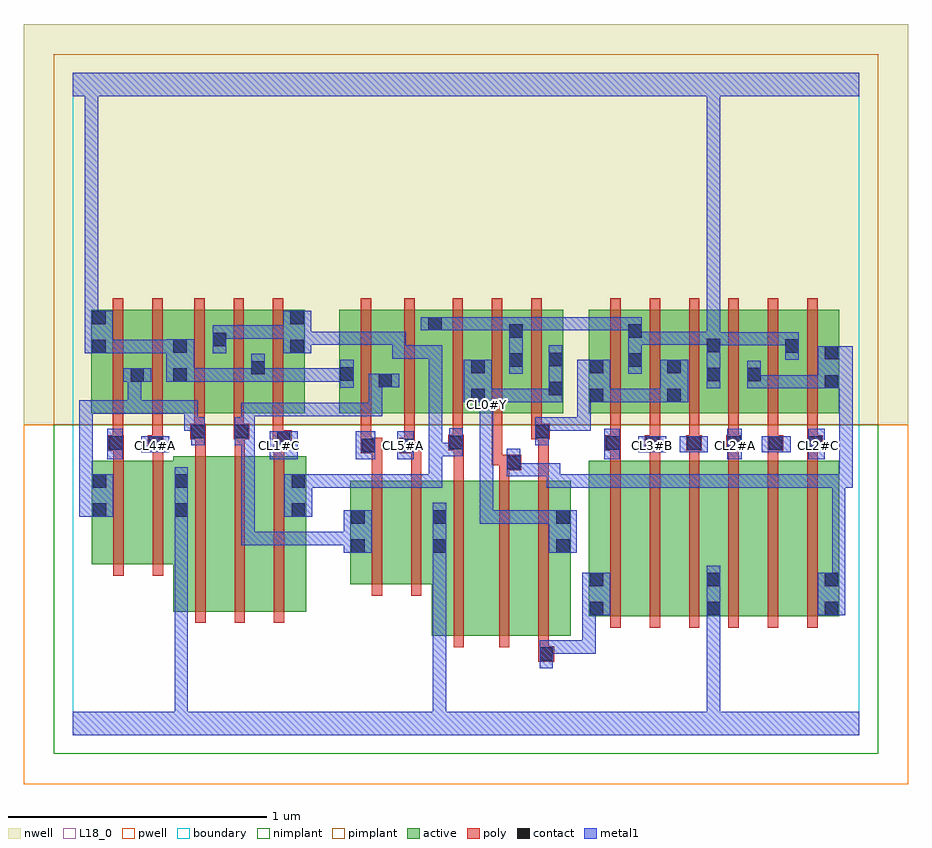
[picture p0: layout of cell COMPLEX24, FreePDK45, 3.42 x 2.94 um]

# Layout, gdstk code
import gdstk
lib = gdstk.Library(unit=1e-6, precision=1e-09)
def R(c, l, rs):  # rectangles x0, y0, x1, y1
    for r in rs: c.add(gdstk.rectangle(r[:2], r[2:], *l))
def A(c, l, x, y, w, h, nx, ny, dx, dy):  # array of equal rectangles
    R(c, l, [(x+i*dx, y+j*dy, x+i*dx+w, y+j*dy+h) for i in range(nx) for j in range(ny)])
active = (1, 0)
pwell = (2, 0)
nwell = (3, 0)
nimplant = (4, 0)
pimplant = (5, 0)
poly = (9, 0)
contact = (10, 0)
metal1 = (11, 0)
L18_0 = (18, 0)
boundary = (235, 0)

complex24 = lib.new_cell('COMPLEX24')
A(complex24, active, 2.142, 1.244, 0.06, 0.4, 3, 1, 0.304, 0)
R(complex24, active, [(1.388,0.384,1.592,0.984), (1.388,0.384,1.448,0.888), (1.592,0.384,1.744,0.984), (1.744,0.384,1.924,0.984), (1.994,0.46,2.054,1.06), (1.994,0.46,2.174,1.06), (2.174,0.46,2.326,1.06), (2.326,0.46,2.506,1.06), (2.446,0.46,2.63,1.06), (2.446,0.46,2.506,0.728), (2.63,0.46,2.782,1.06), (2.782,0.46,2.962,1.06), (2.902,0.46,2.962,1.06), (0.39,0.478,0.57,1.078), (0.57,0.478,0.722,1.078), (0.722,0.478,0.902,1.078), (0.842,0.556,0.902,1.078), (1.864,0.556,1.924,0.984), (1.072,0.584,1.252,0.984), (1.072,0.584,1.132,0.984), (1.252,0.584,1.448,0.984), (0.074,0.66,0.254,1.06), (0.254,0.66,0.45,1.06), (0.074,0.756,0.134,1.06), (0.39,0.756,0.45,1.012), (0.072,1.244,0.132,1.644), (0.072,1.244,0.28,1.644), (0.22,1.244,0.446,1.644), (0.386,1.244,0.598,1.644), (0.538,1.244,0.746,1.644), (0.686,1.244,0.898,1.644), (0.838,1.244,0.898,1.644), (1.03,1.244,1.09,1.644), (1.03,1.244,1.238,1.644), (1.178,1.244,1.43,1.644), (1.37,1.244,1.596,1.644), (1.536,1.244,1.744,1.644), (1.684,1.244,1.896,1.644), (1.836,1.244,1.896,1.644), (1.994,1.244,2.054,1.644), (1.994,1.244,2.202,1.644), (2.142,1.244,2.354,1.644), (2.294,1.244,2.506,1.644), (2.446,1.244,2.662,1.644), (2.602,1.244,2.81,1.644), (2.75,1.244,2.962,1.644), (2.902,1.244,2.962,1.644), (1.536,1.282,1.596,1.644), (2.294,1.282,2.354,1.644), (1.684,1.324,1.744,1.644), (1.178,1.34,1.238,1.644), (0.22,1.362,0.28,1.644), (0.386,1.362,0.446,1.644), (2.602,1.364,2.662,1.644), (0.686,1.39,0.746,1.644), (0.538,1.5,0.598,1.644), (1.37,1.56,1.43,1.644)])
R(complex24, pwell, [(-0.188,-0.188,3.228,1.2)])
R(complex24, nwell, [(-0.188,1.2,3.228,2.748)])
R(complex24, nimplant, [(-0.072,-0.072,3.112,1.2)])
R(complex24, pimplant, [(-0.072,1.2,3.112,2.632)])
A(complex24, poly, 2.078, 0.416, 0.04, 0.688, 6, 1, 0.152, 0)
A(complex24, poly, 0.474, 0.434, 0.04, 0.688, 3, 1, 0.152, 0)
A(complex24, poly, 2.078, 1.064, 0.04, 0.076, 6, 1, 0.152, 0)
A(complex24, poly, 2.078, 1.12, 0.04, 0.12, 6, 1, 0.152, 0)
A(complex24, poly, 0.47, 1.2, 0.04, 0.488, 3, 1, 0.152, 0)
A(complex24, poly, 1.468, 1.2, 0.04, 0.488, 3, 1, 0.152, 0)
A(complex24, poly, 2.078, 1.2, 0.04, 0.488, 6, 1, 0.152, 0)
R(complex24, poly, [(1.8,0.284,1.86,0.344), (1.8,0.304,1.84,0.38), (1.472,0.34,1.512,1.028), (1.648,0.34,1.688,1.028), (1.8,0.34,1.84,1.028), (1.156,0.54,1.196,1.028), (1.308,0.54,1.348,1.028), (0.158,0.616,0.198,1.104), (0.31,0.616,0.35,1.104), (1.156,0.988,1.196,1.13), (1.308,0.988,1.348,1.13), (1.472,0.988,1.512,1.142), (1.648,0.988,1.688,1.064), (1.8,0.988,1.84,1.184), (1.648,1.024,1.734,1.084), (1.62,1.044,1.66,1.24), (1.62,1.044,1.688,1.084), (1.648,1.044,1.688,1.084), (0.158,1.064,0.198,1.14), (0.31,1.064,0.35,1.14), (0.474,1.082,0.514,1.184), (0.626,1.082,0.666,1.184), (0.778,1.082,0.818,1.158), (1.114,1.09,1.196,1.15), (1.262,1.09,1.322,1.15), (1.282,1.09,1.322,1.13), (1.282,1.09,1.348,1.13), (0.138,1.1,0.198,1.16), (0.29,1.1,0.35,1.16), (2.058,1.1,2.118,1.16), (2.078,1.1,2.118,1.14), (2.078,1.1,2.118,1.14), (2.21,1.1,2.27,1.16), (2.23,1.1,2.27,1.14), (2.23,1.1,2.27,1.14), (2.37,1.1,2.43,1.16), (2.382,1.1,2.422,1.14), (2.382,1.1,2.422,1.14), (2.526,1.1,2.586,1.16), (2.534,1.1,2.574,1.14), (2.534,1.1,2.574,1.14), (2.686,1.1,2.726,1.14), (2.686,1.1,2.726,1.14), (2.686,1.1,2.746,1.16), (2.838,1.1,2.878,1.14), (2.838,1.1,2.878,1.14), (2.838,1.1,2.898,1.16), (1.452,1.102,1.512,1.162), (1.472,1.102,1.512,1.142), (1.472,1.102,1.512,1.142), (1.114,1.11,1.154,1.15), (1.114,1.11,1.154,1.15), (1.114,1.11,1.154,1.24), (1.282,1.11,1.322,1.24), (0.778,1.118,0.846,1.178), (0.156,1.12,0.196,1.24), (0.156,1.12,0.196,1.16), (0.156,1.12,0.196,1.16), (0.308,1.12,0.348,1.24), (0.308,1.12,0.348,1.16), (0.308,1.12,0.348,1.16), (1.468,1.122,1.508,1.24), (0.774,1.138,0.814,1.24), (0.774,1.138,0.818,1.178), (0.778,1.138,0.818,1.178), (0.454,1.144,0.514,1.204), (0.474,1.144,0.514,1.184), (0.474,1.144,0.514,1.184), (0.622,1.144,0.682,1.204), (0.626,1.144,0.666,1.184), (0.626,1.144,0.666,1.184), (1.772,1.144,1.844,1.204), (1.8,1.144,1.84,1.184), (1.8,1.144,1.84,1.184), (0.47,1.164,0.51,1.24), (0.622,1.164,0.662,1.24), (1.772,1.164,1.812,1.24), (0.156,1.2,0.196,1.688), (0.308,1.2,0.348,1.688), (1.114,1.2,1.154,1.688), (1.282,1.2,1.322,1.688)])
R(complex24, contact, [(1.804,0.288,1.856,0.34), (1.998,0.464,2.05,0.516), (2.45,0.464,2.502,0.516), (2.906,0.464,2.958,0.516), (1.998,0.576,2.05,0.628), (2.45,0.576,2.502,0.628), (2.906,0.576,2.958,0.628), (1.076,0.706,1.128,0.758), (1.392,0.706,1.444,0.758), (1.868,0.706,1.92,0.758), (1.076,0.818,1.128,0.87), (1.392,0.818,1.444,0.87), (1.868,0.818,1.92,0.87), (0.078,0.844,0.13,0.896), (0.394,0.844,0.446,0.896), (0.846,0.844,0.898,0.896), (0.078,0.956,0.13,1.008), (0.394,0.956,0.446,1.008), (0.846,0.956,0.898,1.008), (1.678,1.028,1.73,1.08), (1.118,1.094,1.17,1.146), (1.266,1.094,1.318,1.146), (0.142,1.104,0.194,1.156), (0.294,1.104,0.346,1.156), (2.062,1.104,2.114,1.156), (2.214,1.104,2.266,1.156), (2.374,1.104,2.426,1.156), (2.53,1.104,2.582,1.156), (2.69,1.104,2.742,1.156), (2.842,1.104,2.894,1.156), (1.456,1.106,1.508,1.158), (0.79,1.122,0.842,1.174), (0.458,1.148,0.51,1.2), (0.626,1.148,0.678,1.2), (1.788,1.148,1.84,1.2), (1.54,1.286,1.592,1.338), (1.998,1.286,2.05,1.338), (2.298,1.286,2.35,1.338), (1.84,1.314,1.892,1.366), (2.906,1.34,2.958,1.392), (1.182,1.344,1.234,1.396), (0.224,1.366,0.276,1.418), (0.39,1.366,0.442,1.418), (2.45,1.368,2.502,1.42), (2.606,1.368,2.658,1.42), (1.034,1.37,1.086,1.422), (0.69,1.394,0.742,1.446), (1.54,1.398,1.592,1.45), (1.998,1.398,2.05,1.45), (2.298,1.398,2.35,1.45), (1.688,1.424,1.74,1.476), (2.146,1.424,2.198,1.476), (1.84,1.426,1.892,1.478), (2.906,1.452,2.958,1.504), (0.076,1.476,0.128,1.528), (0.842,1.476,0.894,1.528), (0.39,1.478,0.442,1.53), (2.754,1.478,2.806,1.53), (2.45,1.48,2.502,1.532), (0.542,1.504,0.594,1.556), (1.688,1.536,1.74,1.588), (2.146,1.536,2.198,1.588), (1.374,1.564,1.426,1.616), (0.076,1.588,0.128,1.64), (0.842,1.588,0.894,1.64)])
R(complex24, metal1, [(0,0,3.04,0.092), (0.394,0.04,0.446,0.092), (0.394,0.04,0.446,0.092), (0.394,0.04,0.446,0.092), (0.394,0.04,0.446,0.092), (0.394,0.04,0.446,0.092), (0.394,0.04,0.446,0.092), (0.394,0.04,0.446,0.868), (1.392,0.04,1.444,0.73), (2.45,0.04,2.502,0.092), (2.45,0.04,2.502,0.092), (2.45,0.04,2.502,0.092), (2.45,0.04,2.502,0.092), (2.45,0.04,2.502,0.488), (1.804,0.26,1.856,0.368), (1.804,0.316,1.856,0.368), (1.804,0.316,1.856,0.368), (1.804,0.316,2.022,0.368), (1.97,0.316,2.022,0.368), (1.97,0.316,2.022,0.516), (2.45,0.436,2.502,0.488), (2.45,0.436,2.502,0.488), (2.45,0.436,2.502,0.488), (2.45,0.436,2.502,0.488), (2.45,0.436,2.502,0.656), (1.97,0.464,2.078,0.628), (2.878,0.464,2.986,0.628), (2.934,0.576,2.986,1.008), (1.392,0.678,1.444,0.73), (1.392,0.678,1.444,0.73), (1.392,0.678,1.444,0.73), (1.392,0.678,1.444,0.73), (1.392,0.678,1.444,0.73), (1.392,0.678,1.444,0.73), (1.392,0.678,1.444,0.73), (1.392,0.678,1.444,0.73), (1.392,0.678,1.444,0.898), (1.048,0.706,1.156,0.87), (1.84,0.706,1.948,0.87), (0.652,0.734,0.704,0.786), (0.652,0.734,0.704,0.786), (0.652,0.734,0.704,0.786), (0.652,0.734,0.704,0.786), (0.652,0.734,0.704,0.786), (0.652,0.734,0.852,0.786), (0.652,0.734,0.704,1.228), (0.8,0.734,0.852,0.786), (0.8,0.734,0.852,0.786), (0.8,0.734,0.852,0.786), (0.8,0.734,1.1,0.786), (0.394,0.816,0.446,0.868), (0.394,0.816,0.446,0.868), (0.394,0.816,0.446,1.036), (1.574,0.818,1.626,0.87), (1.574,0.818,1.626,0.87), (1.574,0.818,1.626,0.87), (1.574,0.818,1.736,0.87), (1.574,0.818,1.626,1.278), (1.684,0.818,1.736,0.87), (1.684,0.818,1.892,0.87), (1.84,0.818,1.892,0.87), (1.84,0.818,1.892,0.87), (0.026,0.844,0.158,1.008), (0.818,0.844,0.926,1.008), (0.026,0.956,0.078,1.294), (0.874,0.956,1,1.008), (0.948,0.956,1,1.008), (0.948,0.956,1.146,1.008), (1.094,0.956,1.146,1.008), (1.094,0.956,1.288,1.008), (1.236,0.956,1.288,1.008), (1.236,0.956,1.288,1.008), (1.236,0.956,1.288,1.008), (1.236,0.956,1.288,1.008), (1.236,0.956,1.288,1.008), (1.236,0.956,1.428,1.008), (1.376,0.956,1.428,1.008), (1.376,0.956,1.428,1.13), (1.832,0.956,2.078,1.008), (1.832,0.956,1.884,1.052), (2.026,0.956,2.078,1.008), (2.026,0.956,2.078,1.008), (2.026,0.956,2.078,1.008), (2.026,0.956,2.188,1.008), (2.136,0.956,2.188,1.008), (2.136,0.956,2.188,1.008), (2.136,0.956,2.188,1.008), (2.136,0.956,2.308,1.008), (2.256,0.956,2.308,1.008), (2.256,0.956,2.308,1.008), (2.256,0.956,2.308,1.008), (2.256,0.956,2.418,1.008), (2.366,0.956,2.418,1.008), (2.366,0.956,2.418,1.008), (2.366,0.956,2.418,1.008), (2.366,0.956,2.696,1.008), (2.644,0.956,2.696,1.008), (2.644,0.956,2.696,1.008), (2.644,0.956,2.696,1.008), (2.644,0.956,2.82,1.008), (2.768,0.956,2.82,1.008), (2.768,0.956,2.986,1.008), (2.934,0.956,2.986,1.008), (2.934,0.956,2.986,1.008), (2.934,0.956,3.014,1.008), (2.962,0.956,3.014,1.392), (1.678,1,1.73,1.108), (1.678,1,1.736,1.052), (1.684,1,1.736,1.052), (1.684,1,1.884,1.052), (1.832,1,1.884,1.052), (1.832,1,1.884,1.052), (0.134,1.066,0.194,1.184), (0.762,1.066,0.87,1.174), (1.094,1.066,1.17,1.174), (1.254,1.066,1.318,1.174), (2.054,1.066,2.114,1.184), (2.53,1.066,2.586,1.184), (2.842,1.066,2.906,1.184), (1.376,1.078,1.428,1.13), (1.376,1.078,1.428,1.13), (1.376,1.078,1.428,1.13), (1.376,1.078,1.508,1.13), (1.376,1.078,1.428,1.506), (1.456,1.078,1.508,1.186), (0.266,1.094,0.374,1.156), (2.186,1.094,2.294,1.156), (2.346,1.094,2.454,1.156), (2.662,1.094,2.774,1.156), (0.458,1.12,0.51,1.228), (0.626,1.12,0.678,1.228), (1.788,1.12,1.84,1.228), (0.432,1.176,0.51,1.228), (0.432,1.176,0.484,1.294), (0.626,1.176,0.704,1.228), (0.652,1.176,0.704,1.284), (1.788,1.176,1.892,1.228), (1.84,1.176,1.892,1.228), (1.84,1.176,2.002,1.228), (1.95,1.176,2.002,1.228), (1.95,1.176,2.002,1.338), (1.574,1.226,1.626,1.338), (0.652,1.232,0.89,1.284), (0.838,1.232,0.89,1.284), (0.838,1.232,1,1.284), (0.948,1.232,1,1.284), (0.948,1.232,1,1.284), (0.948,1.232,1,1.284), (0.948,1.232,1.178,1.284), (1.126,1.232,1.178,1.284), (1.126,1.232,1.196,1.284), (1.144,1.232,1.196,1.284), (1.144,1.232,1.196,1.396), (0.026,1.242,0.078,1.294), (0.026,1.242,0.078,1.294), (0.026,1.242,0.078,1.294), (0.026,1.242,0.078,1.294), (0.026,1.242,0.078,1.294), (0.026,1.242,0.266,1.294), (0.214,1.242,0.266,1.294), (0.214,1.242,0.274,1.294), (0.214,1.242,0.266,1.418), (0.222,1.242,0.274,1.294), (0.222,1.242,0.484,1.294), (1.512,1.286,1.62,1.45), (1.568,1.286,1.62,1.338), (1.568,1.286,1.62,1.338), (1.568,1.286,1.62,1.338), (1.568,1.286,1.736,1.338), (1.568,1.286,1.626,1.338), (1.574,1.286,1.626,1.338), (1.684,1.286,1.736,1.338), (1.684,1.286,1.892,1.338), (1.84,1.286,1.892,1.338), (1.84,1.286,1.892,1.338), (1.84,1.286,1.892,1.506), (1.95,1.286,2.078,1.45), (2.026,1.286,2.078,1.338), (2.026,1.286,2.078,1.338), (2.026,1.286,2.188,1.338), (2.136,1.286,2.188,1.338), (2.136,1.286,2.188,1.338), (2.136,1.286,2.188,1.338), (2.136,1.286,2.322,1.338), (2.27,1.286,2.378,1.45), (2.45,1.34,2.502,1.56), (2.606,1.34,2.658,1.392), (2.606,1.34,2.658,1.392), (2.606,1.34,2.658,1.448), (2.606,1.34,2.82,1.392), (2.768,1.34,2.82,1.392), (2.768,1.34,2.82,1.392), (2.768,1.34,2.82,1.392), (2.768,1.34,2.93,1.392), (2.878,1.34,3.014,1.504), (2.962,1.34,3.014,1.392), (2.962,1.34,3.014,1.392), (1.034,1.342,1.086,1.45), (1.144,1.344,1.262,1.396), (0.196,1.366,0.304,1.418), (0.362,1.366,0.47,1.53), (0.418,1.366,0.47,1.418), (0.418,1.366,0.47,1.418), (0.418,1.366,0.47,1.418), (0.418,1.366,0.47,1.418), (0.418,1.366,0.594,1.418), (0.542,1.366,0.594,1.418), (0.542,1.366,0.594,1.418), (0.542,1.366,0.594,1.418), (0.542,1.366,0.742,1.418), (0.69,1.366,0.742,1.474), (0.69,1.366,0.89,1.418), (0.838,1.366,0.89,1.418), (0.838,1.366,0.89,1.418), (0.838,1.366,0.89,1.418), (0.838,1.366,1.086,1.418), (1.688,1.396,1.74,1.616), (2.146,1.396,2.198,1.616), (2.754,1.45,2.806,1.558), (1.236,1.454,1.428,1.506), (1.236,1.454,1.288,1.56), (1.376,1.454,1.428,1.506), (0.048,1.476,0.156,1.64), (0.086,1.476,0.138,1.528), (0.086,1.476,0.138,1.528), (0.086,1.476,0.138,1.528), (0.086,1.476,0.138,1.528), (0.086,1.476,0.138,1.528), (0.086,1.476,0.138,1.528), (0.086,1.476,0.266,1.528), (0.214,1.476,0.266,1.528), (0.214,1.476,0.266,1.528), (0.214,1.476,0.266,1.528), (0.214,1.476,0.414,1.528), (0.542,1.476,0.594,1.584), (0.814,1.476,0.922,1.64), (2.45,1.506,2.502,1.558), (2.45,1.506,2.502,1.558), (2.45,1.506,2.696,1.558), (2.644,1.506,2.696,1.558), (2.644,1.506,2.696,1.558), (2.644,1.506,2.696,1.558), (2.644,1.506,2.806,1.558), (0.87,1.508,1,1.56), (0.948,1.508,1,1.56), (0.948,1.508,1.178,1.56), (1.126,1.508,1.178,1.56), (1.126,1.508,1.288,1.56), (1.236,1.508,1.288,1.56), (1.236,1.508,1.288,1.56), (2.146,1.508,2.198,1.56), (2.146,1.508,2.198,1.56), (2.146,1.508,2.308,1.56), (2.256,1.508,2.308,1.56), (2.256,1.508,2.308,1.56), (2.256,1.508,2.308,1.56), (2.256,1.508,2.502,1.56), (2.45,1.508,2.502,1.56), (2.45,1.508,2.502,1.56), (2.45,1.508,2.502,2.52), (0.542,1.532,0.704,1.584), (0.652,1.532,0.704,1.584), (0.652,1.532,0.704,1.584), (0.652,1.532,0.704,1.584), (0.652,1.532,0.866,1.584), (0.814,1.532,0.866,1.584), (0.814,1.532,0.866,1.584), (1.346,1.564,1.454,1.616), (1.402,1.564,1.454,1.616), (1.402,1.564,1.454,1.616), (1.402,1.564,1.626,1.616), (1.574,1.564,1.626,1.616), (1.574,1.564,1.626,1.616), (1.574,1.564,1.626,1.616), (1.574,1.564,1.74,1.616), (1.688,1.564,1.892,1.616), (1.84,1.564,1.892,1.616), (1.84,1.564,1.892,1.616), (1.84,1.564,1.892,1.616), (1.84,1.564,2.058,1.616), (2.006,1.564,2.058,1.616), (2.006,1.564,2.058,1.616), (2.006,1.564,2.058,1.616), (2.006,1.564,2.198,1.616), (0.048,1.588,0.1,1.64), (0.048,1.588,0.1,1.64), (0.048,1.588,0.1,1.64), (0.048,1.588,0.1,1.64), (0.048,1.588,0.1,1.64), (0.048,1.588,0.1,1.64), (0.048,1.588,0.1,1.64), (0.048,1.588,0.1,1.64), (0.048,1.588,0.1,1.64), (0.048,1.588,0.1,1.64), (0.048,1.588,0.1,2.52), (0,2.468,3.04,2.56), (0.048,2.468,0.1,2.52), (0.048,2.468,0.1,2.52), (0.048,2.468,0.1,2.52), (0.048,2.468,0.1,2.52), (0.048,2.468,0.1,2.52), (0.048,2.468,0.1,2.52), (2.45,2.468,2.502,2.52), (2.45,2.468,2.502,2.52), (2.45,2.468,2.502,2.52), (2.45,2.468,2.502,2.52), (2.45,2.468,2.502,2.52), (2.45,2.468,2.502,2.52), (2.45,2.468,2.502,2.52), (2.45,2.468,2.502,2.52), (2.45,2.468,2.502,2.52), (2.45,2.468,2.502,2.52), (2.45,2.468,2.502,2.52), (2.45,2.468,2.502,2.52), (2.45,2.468,2.502,2.52), (2.45,2.468,2.502,2.52)])
A(complex24, L18_0, 2.054, 1.094, 0.052, 0.052, 6, 1, 0.16, 0)
R(complex24, L18_0, [(0,0,3.04,0.092), (0.394,0.04,0.446,0.092), (0.394,0.04,0.446,0.092), (0.394,0.04,0.446,0.092), (0.394,0.04,0.446,0.092), (0.394,0.04,0.446,0.092), (0.394,0.04,0.446,0.092), (0.394,0.04,0.446,0.868), (1.392,0.04,1.444,0.73), (2.45,0.04,2.502,0.092), (2.45,0.04,2.502,0.092), (2.45,0.04,2.502,0.092), (2.45,0.04,2.502,0.092), (2.45,0.04,2.502,0.488), (2.45,0.436,2.502,0.488), (2.45,0.436,2.502,0.488), (2.45,0.436,2.502,0.488), (2.45,0.436,2.502,0.488), (2.45,0.436,2.502,0.656), (1.392,0.678,1.444,0.73), (1.392,0.678,1.444,0.73), (1.392,0.678,1.444,0.73), (1.392,0.678,1.444,0.73), (1.392,0.678,1.444,0.73), (1.392,0.678,1.444,0.73), (1.392,0.678,1.444,0.73), (1.392,0.678,1.444,0.73), (1.392,0.678,1.444,0.898), (1.84,0.706,1.948,0.87), (0.394,0.816,0.446,0.868), (0.394,0.816,0.446,0.868), (0.394,0.816,0.446,1.036), (1.574,0.818,1.626,0.87), (1.574,0.818,1.626,0.87), (1.574,0.818,1.626,0.87), (1.574,0.818,1.626,1.278), (1.574,0.818,1.736,0.87), (1.684,0.818,1.736,0.87), (1.684,0.818,1.892,0.87), (1.84,0.818,1.892,0.87), (1.84,0.818,1.892,0.87), (0.134,1.066,0.194,1.184), (0.762,1.066,0.87,1.174), (1.094,1.066,1.17,1.174), (1.254,1.066,1.318,1.174), (2.054,1.066,2.114,1.184), (2.53,1.066,2.586,1.184), (2.842,1.066,2.906,1.184), (0.134,1.094,0.186,1.146), (0.266,1.094,0.374,1.156), (0.294,1.094,0.346,1.146), (0.774,1.094,0.826,1.146), (1.094,1.094,1.146,1.146), (1.254,1.094,1.306,1.146), (2.186,1.094,2.294,1.156), (2.346,1.094,2.454,1.156), (2.662,1.094,2.774,1.156), (1.574,1.226,1.626,1.338), (1.574,1.254,1.626,1.306), (1.512,1.286,1.62,1.45), (1.568,1.286,1.62,1.338), (1.568,1.286,1.62,1.338), (1.568,1.286,1.62,1.338), (1.568,1.286,1.626,1.338), (1.568,1.286,1.736,1.338), (1.574,1.286,1.626,1.338), (1.684,1.286,1.736,1.338), (1.684,1.286,1.892,1.338), (1.84,1.286,1.892,1.338), (1.84,1.286,1.892,1.338), (1.84,1.286,1.892,1.506), (2.45,1.34,2.502,1.56), (1.034,1.342,1.086,1.45), (0.362,1.366,0.47,1.53), (0.418,1.366,0.47,1.418), (0.418,1.366,0.47,1.418), (0.418,1.366,0.47,1.418), (0.418,1.366,0.47,1.418), (0.418,1.366,0.594,1.418), (0.542,1.366,0.594,1.418), (0.542,1.366,0.594,1.418), (0.542,1.366,0.594,1.418), (0.542,1.366,0.742,1.418), (0.69,1.366,0.89,1.418), (0.69,1.366,0.742,1.474), (0.838,1.366,0.89,1.418), (0.838,1.366,0.89,1.418), (0.838,1.366,0.89,1.418), (0.838,1.366,1.086,1.418), (1.688,1.396,1.74,1.616), (2.146,1.396,2.198,1.616), (2.754,1.45,2.806,1.558), (0.048,1.476,0.156,1.64), (0.086,1.476,0.138,1.528), (0.086,1.476,0.138,1.528), (0.086,1.476,0.138,1.528), (0.086,1.476,0.138,1.528), (0.086,1.476,0.138,1.528), (0.086,1.476,0.138,1.528), (0.086,1.476,0.266,1.528), (0.214,1.476,0.266,1.528), (0.214,1.476,0.266,1.528), (0.214,1.476,0.266,1.528), (0.214,1.476,0.414,1.528), (2.45,1.506,2.502,1.558), (2.45,1.506,2.502,1.558), (2.45,1.506,2.696,1.558), (2.644,1.506,2.696,1.558), (2.644,1.506,2.696,1.558), (2.644,1.506,2.696,1.558), (2.644,1.506,2.806,1.558), (2.146,1.508,2.198,1.56), (2.146,1.508,2.198,1.56), (2.146,1.508,2.308,1.56), (2.256,1.508,2.308,1.56), (2.256,1.508,2.308,1.56), (2.256,1.508,2.308,1.56), (2.256,1.508,2.502,1.56), (2.45,1.508,2.502,1.56), (2.45,1.508,2.502,1.56), (2.45,1.508,2.502,2.52), (1.346,1.564,1.454,1.616), (1.402,1.564,1.454,1.616), (1.402,1.564,1.454,1.616), (1.402,1.564,1.626,1.616), (1.574,1.564,1.626,1.616), (1.574,1.564,1.626,1.616), (1.574,1.564,1.626,1.616), (1.574,1.564,1.74,1.616), (1.688,1.564,1.892,1.616), (1.84,1.564,1.892,1.616), (1.84,1.564,1.892,1.616), (1.84,1.564,1.892,1.616), (1.84,1.564,2.058,1.616), (2.006,1.564,2.058,1.616), (2.006,1.564,2.058,1.616), (2.006,1.564,2.058,1.616), (2.006,1.564,2.198,1.616), (0.048,1.588,0.1,1.64), (0.048,1.588,0.1,1.64), (0.048,1.588,0.1,1.64), (0.048,1.588,0.1,1.64), (0.048,1.588,0.1,1.64), (0.048,1.588,0.1,1.64), (0.048,1.588,0.1,1.64), (0.048,1.588,0.1,1.64), (0.048,1.588,0.1,1.64), (0.048,1.588,0.1,1.64), (0.048,1.588,0.1,2.52), (0,2.468,3.04,2.56), (0.048,2.468,0.1,2.52), (0.048,2.468,0.1,2.52), (0.048,2.468,0.1,2.52), (0.048,2.468,0.1,2.52), (0.048,2.468,0.1,2.52), (0.048,2.468,0.1,2.52), (2.45,2.468,2.502,2.52), (2.45,2.468,2.502,2.52), (2.45,2.468,2.502,2.52), (2.45,2.468,2.502,2.52), (2.45,2.468,2.502,2.52), (2.45,2.468,2.502,2.52), (2.45,2.468,2.502,2.52), (2.45,2.468,2.502,2.52), (2.45,2.468,2.502,2.52), (2.45,2.468,2.502,2.52), (2.45,2.468,2.502,2.52), (2.45,2.468,2.502,2.52), (2.45,2.468,2.502,2.52), (2.45,2.468,2.502,2.52)])
R(complex24, boundary, [(0,0,3.04,2.56)])
complex24.add(gdstk.Label('CL0#Y', (1.6,1.28), layer=11, texttype=0))
complex24.add(gdstk.Label('CL1#C', (0.8,1.12), layer=11, texttype=0))
complex24.add(gdstk.Label('CL2#A', (2.56,1.12), layer=11, texttype=0))
complex24.add(gdstk.Label('CL2#B', (2.72,1.12), layer=11, texttype=0))
complex24.add(gdstk.Label('CL2#C', (2.88,1.12), layer=11, texttype=0))
complex24.add(gdstk.Label('CL3#A', (2.4,1.12), layer=11, texttype=0))
complex24.add(gdstk.Label('CL3#B', (2.24,1.12), layer=11, texttype=0))
complex24.add(gdstk.Label('CL3#C', (2.08,1.12), layer=11, texttype=0))
complex24.add(gdstk.Label('CL4#A', (0.32,1.12), layer=11, texttype=0))
complex24.add(gdstk.Label('CL4#B', (0.16,1.12), layer=11, texttype=0))
complex24.add(gdstk.Label('CL5#A', (1.28,1.12), layer=11, texttype=0))
complex24.add(gdstk.Label('CL5#B', (1.12,1.12), layer=11, texttype=0))

lib.write_gds('COMPLEX24.gds')
